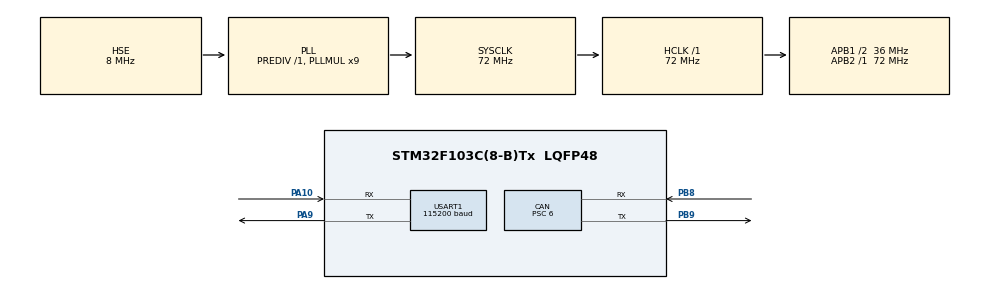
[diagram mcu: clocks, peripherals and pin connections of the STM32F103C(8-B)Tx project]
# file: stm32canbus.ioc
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CAN.ABOM=DISABLE
CAN.AWUM=DISABLE
CAN.BS1=CAN_BS1_4TQ
CAN.BS2=CAN_BS2_2TQ
CAN.CalculateBaudRate=857142
CAN.CalculateTimeBit=1166
CAN.CalculateTimeQuantum=166.66666666666669
CAN.NART=DISABLE
CAN.Prescaler=6
Dma.Request0=USART1_TX
Dma.USART1_TX.0.Direction=DMA_MEMORY_TO_PERIPH
Dma.USART1_TX.0.Instance=DMA1_Channel4
Dma.USART1_TX.0.MemDataAlignment=DMA_MDATAALIGN_BYTE
Dma.USART1_TX.0.MemInc=DMA_MINC_ENABLE
Dma.USART1_TX.0.Mode=DMA_NORMAL
Dma.USART1_TX.0.PeriphDataAlignment=DMA_PDATAALIGN_BYTE
Dma.USART1_TX.0.PeriphInc=DMA_PINC_DISABLE
Dma.USART1_TX.0.Priority=DMA_PRIORITY_LOW
Mcu.Family=STM32F1
Mcu.Name=STM32F103C(8-B)Tx
Mcu.Package=LQFP48
NVIC.CAN1_RX1_IRQn=true\:0\:0\:false\:false\:true\:true\:true\:true
NVIC.DMA1_Channel4_IRQn=true\:0\:0\:false\:false\:true\:false\:true\:true
NVIC.PriorityGroup=NVIC_PRIORITYGROUP_4
NVIC.USART1_IRQn=true\:0\:0\:false\:false\:true\:true\:true\:true
NVIC.USB_LP_CAN1_RX0_IRQn=true\:0\:0\:false\:false\:true\:true\:true\:true
PA10.Mode=Asynchronous
PA10.Signal=USART1_RX
PA9.Mode=Asynchronous
PA9.Signal=USART1_TX
PB8.Mode=CAN_Activate
PB8.Signal=CAN_RX
PB9.Mode=CAN_Activate
PB9.Signal=CAN_TX
PD0-OSC_IN.Mode=HSE-External-Oscillator
PD0-OSC_IN.Signal=RCC_OSC_IN
PD1-OSC_OUT.Mode=HSE-External-Oscillator
PD1-OSC_OUT.Signal=RCC_OSC_OUT
ProjectManager.HeapSize=0x200
ProjectManager.StackSize=0x400
ProjectManager.TargetToolchain=Makefile
RCC.AHBFreq_Value=72000000
RCC.APB1CLKDivider=RCC_HCLK_DIV2
RCC.APB1Freq_Value=36000000
RCC.APB1TimFreq_Value=72000000
RCC.APB2Freq_Value=72000000
RCC.APB2TimFreq_Value=72000000
RCC.HCLKFreq_Value=72000000
RCC.PLLMUL=RCC_PLL_MUL9
RCC.PLLSourceVirtual=RCC_PLLSOURCE_HSE
RCC.SYSCLKFreq_VALUE=72000000
RCC.SYSCLKSource=RCC_SYSCLKSOURCE_PLLCLK
RCC.USBFreq_Value=48000000
RCC.USBPrescaler=RCC_USBCLKSOURCE_PLL_DIV1_5
USART1.BaudRate=115200
USART1.VirtualMode=VM_ASYNC
VP_SYS_VS_ND.Mode=No_Debug
board=custom

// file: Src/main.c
/* USER CODE BEGIN Header */
/**
 ******************************************************************************
 * @file           : main.c
 * @brief          : Main program body
 ******************************************************************************
 * @attention
 *
 * Copyright (c) 2024 STMicroelectronics.
 * All rights reserved.
 *
 * This software is licensed under terms that can be found in the LICENSE file
 * in the root directory of this software component.
 * If no LICENSE file comes with this software, it is provided AS-IS.
 *
 ******************************************************************************
 */
/* USER CODE END Header */
#include "main.h"
#include "can.h"
#include "dma.h"
#include "usart.h"
#include "gpio.h"

/* USER CODE BEGIN Includes */
#include <stdlib.h>
#include "cobs.h"
/* USER CODE END Includes */

/* USER CODE BEGIN PTD */
// To make your life easier.
enum AvailableTask
{
  PrintHeartbeat,
  ReceiveSerial,
  ReceiveCAN,

  SendBatteryVoltage,
  SendBatteryCurrent,
  SendBatteryTemperature,
  SendFuelLevel,
  SendAmbientTemperature,
  SendAmbientHumidity,
  SendEngineTemperature,
  SendOilTemperature,
  SendOilPressure,
  SendCoolantTemperature,
  SendCoolantPressure,

  EOT, // DO NOT USE THIS. THIS IS FOR INDEX TRACKING. ALWAYS PUT AT END!
};

// Comment here as needed
const uint8_t EnabledTask[] = {
    PrintHeartbeat,
    // ReceiveSerial,
    // ReceiveCAN,

    SendBatteryVoltage,
    SendBatteryCurrent,
    SendBatteryTemperature,
    SendFuelLevel,
    // SendAmbientTemperature,
    // SendAmbientHumidity,
    // SendEngineTemperature,
    // SendOilTemperature,
    // SendOilPressure,
    // SendCoolantTemperature,
    // SendCoolantPressure,
};

typedef bool (*TaskFunction)();
/* USER CODE END PTD */

/* USER CODE BEGIN PM */
#define BITS16(b1, b2) ((b1 << 8) + b2)
/* USER CODE END PM */

void SystemClock_Config(void);
/* USER CODE BEGIN PFP */
void receiveCAN(CAN_HandleTypeDef *hcan);

/**
 * @brief Execute a task list within interval. This is done very crudely.
 *
 * @param timekeeper object for storing timekeeping value
 * @param interval_ms interval of each task
 * @param functor list of task to be done
 * @param task index of which task to be done
 */
void do_task(uint32_t timekeeper[], uint32_t interval_ms[], TaskFunction functors[], uint8_t task);

bool printHeartbeat();
bool receiveSerial();

bool sendRandom();
/* USER CODE END PFP */

int main(void)
{
  /* USER CODE BEGIN 1 */
  uint32_t timekeeper[EOT] = {0};
  uint32_t interval[EOT] = {0};
  TaskFunction tasks[EOT] = {0};

  {
    tasks[PrintHeartbeat] = printHeartbeat;
    interval[PrintHeartbeat] = 1000;

    // Both should always be run
    tasks[ReceiveSerial] = receiveSerial;
    interval[ReceiveSerial] = 0;

    tasks[ReceiveCAN] = receiveCAN;
    interval[ReceiveCAN] = 0;

    tasks[SendBatteryVoltage] = sendRandom;
    tasks[SendBatteryCurrent] = sendRandom;
    tasks[SendBatteryTemperature] = sendRandom;
    tasks[SendAmbientTemperature] = sendRandom;
    tasks[SendAmbientHumidity] = sendRandom;
    tasks[SendEngineTemperature] = sendRandom;
    tasks[SendOilTemperature] = sendRandom;
    tasks[SendOilPressure] = sendRandom;
    tasks[SendFuelLevel] = sendRandom;
    tasks[SendCoolantTemperature] = sendRandom;
    tasks[SendCoolantPressure] = sendRandom;

    interval[SendBatteryVoltage] = 251;
    interval[SendBatteryCurrent] = 237;
    interval[SendBatteryTemperature] = 272;
    interval[SendAmbientTemperature] = 228;
    interval[SendAmbientHumidity] = 293;
    interval[SendEngineTemperature] = 179;
    interval[SendOilTemperature] = 204;
    interval[SendOilPressure] = 191;
    interval[SendFuelLevel] = 335;
    interval[SendCoolantTemperature] = 372;
    interval[SendCoolantPressure] = 396;
  }
  /* USER CODE END 1 */

  /* MCU Configuration--------------------------------------------------------*/

  /* Reset of all peripherals, Initializes the Flash interface and the Systick. */
  HAL_Init();

  /* USER CODE BEGIN Init */
  HAL_RCC_GetSysClockFreq();
  /* USER CODE END Init */

  /* Configure the system clock */
  SystemClock_Config();

  /* Initialize all configured peripherals */
  MX_GPIO_Init();
  MX_DMA_Init();
  MX_CAN_Init();
  MX_USART1_UART_Init();
  /* USER CODE BEGIN 2 */
  // Application Note STM32 UM1850 #9.2 - CAN Firmware driver API description (page 92)
  HAL_CAN_RegisterCallback(&hcan, HAL_CAN_RX_FIFO0_MSG_PENDING_CB_ID, receiveCAN);
  CAN_FilterTypeDef filter;
  filter.FilterBank = 0;
  filter.FilterMode = CAN_FILTERMODE_IDMASK;
  filter.FilterScale = CAN_FILTERSCALE_32BIT;
  filter.FilterIdHigh = 0x0000;
  filter.FilterIdLow = 0x0000;
  filter.FilterMaskIdHigh = 0x0000;
  filter.FilterMaskIdLow = 0x0000;
  filter.FilterFIFOAssignment = CAN_FILTER_FIFO0;
  filter.FilterActivation = CAN_FILTER_ENABLE;
  filter.SlaveStartFilterBank = 14;
  HAL_CAN_ConfigFilter(&hcan, &filter);
  HAL_CAN_Start(&hcan);
  HAL_CAN_ActivateNotification(&hcan, CAN_IT_RX_FIFO0_MSG_PENDING | CAN_IT_RX_FIFO1_MSG_PENDING);
  /* USER CODE END 2 */

  /* Infinite loop */
  /* USER CODE BEGIN WHILE */
  while (1)
  {
    for (size_t i = 0; i < sizeof(EnabledTask); i++)
    {
      do_task(timekeeper, interval, tasks, EnabledTask[i]);
    }
    /* USER CODE END WHILE */

  }
}

void SystemClock_Config(void)
{
  RCC_OscInitTypeDef RCC_OscInitStruct = {0};
  RCC_ClkInitTypeDef RCC_ClkInitStruct = {0};

  /** Initializes the RCC Oscillators according to the specified parameters
   * in the RCC_OscInitTypeDef structure.
   */
  RCC_OscInitStruct.OscillatorType = RCC_OSCILLATORTYPE_HSE;
  RCC_OscInitStruct.HSEState = RCC_HSE_ON;
  RCC_OscInitStruct.HSEPredivValue = RCC_HSE_PREDIV_DIV1;
  RCC_OscInitStruct.HSIState = RCC_HSI_ON;
  RCC_OscInitStruct.PLL.PLLState = RCC_PLL_ON;
  RCC_OscInitStruct.PLL.PLLSource = RCC_PLLSOURCE_HSE;
  RCC_OscInitStruct.PLL.PLLMUL = RCC_PLL_MUL9;
  if (HAL_RCC_OscConfig(&RCC_OscInitStruct) != HAL_OK)
  {
    Error_Handler();
  }

  /** Initializes the CPU, AHB and APB buses clocks
   */
  RCC_ClkInitStruct.ClockType = RCC_CLOCKTYPE_HCLK | RCC_CLOCKTYPE_SYSCLK | RCC_CLOCKTYPE_PCLK1 | RCC_CLOCKTYPE_PCLK2;
  RCC_ClkInitStruct.SYSCLKSource = RCC_SYSCLKSOURCE_PLLCLK;
  RCC_ClkInitStruct.AHBCLKDivider = RCC_SYSCLK_DIV1;
  RCC_ClkInitStruct.APB1CLKDivider = RCC_HCLK_DIV2;
  RCC_ClkInitStruct.APB2CLKDivider = RCC_HCLK_DIV1;

  if (HAL_RCC_ClockConfig(&RCC_ClkInitStruct, FLASH_LATENCY_2) != HAL_OK)
  {
    Error_Handler();
  }
}

/* USER CODE BEGIN 4 */
void do_task(uint32_t timekeeper[], uint32_t interval_ms[], TaskFunction functors[], uint8_t task)
{
  // Task is not yet defined
  if (functors[task] != 0 && functors[task] != NULL)
  {
    // USE INT TO MAKE SURE WE CAN GO BELOW 0
    const int64_t tick_ms = HAL_GetTick();
    if (timekeeper[task] - tick_ms <= 0)
    {
      if (functors[task]() == true)
      {
        timekeeper[task] = tick_ms + interval_ms[task];
      }
    }
  }
}

bool printHeartbeat()
{
  switch (HAL_CAN_GetState(&hcan))
  {
  case HAL_CAN_STATE_RESET:
    return serial_printf_dma("HAL_CAN_STATE_RESET");
  case HAL_CAN_STATE_READY:
    return serial_printf_dma("HAL_CAN_STATE_READY");
  case HAL_CAN_STATE_LISTENING:
    return serial_printf_dma("HAL_CAN_STATE_LISTENING");
  case HAL_CAN_STATE_ERROR:
    return serial_printf_dma("HAL_CAN_STATE_ERROR");
  case HAL_CAN_STATE_SLEEP_ACTIVE:
    return serial_printf_dma("HAL_CAN_STATE_SLEEP_ACTIVE");
  case HAL_CAN_STATE_SLEEP_PENDING:
    return serial_printf_dma("HAL_CAN_STATE_SLEEP_PENDING");
  default:
    return serial_printf_dma("HAL_CAN_STATE_UNKNOWN");
  }
}

bool receiveSerial()
{
  return false;
}

void receiveCAN(CAN_HandleTypeDef *hcan)
{
  static CAN_RxHeaderTypeDef header;
  static uint8_t data[8];

  uint32_t fill = HAL_CAN_GetRxFifoFillLevel(hcan, CAN_RX_FIFO0);
  for (size_t j = 0; j < fill; j++)
  {
    if (HAL_CAN_GetRxMessage(hcan, CAN_RX_FIFO0, &header, data) == HAL_OK)
    {
      serial_canrx_dma(&header, data);
    }
  }

  fill = HAL_CAN_GetRxFifoFillLevel(hcan, CAN_RX_FIFO1);
  for (size_t j = 0; j < fill; j++)
  {
    if (HAL_CAN_GetRxMessage(hcan, CAN_RX_FIFO1, &header, data) == HAL_OK)
    {
      serial_canrx_dma(&header, data);
    }
  }
}

bool sendCANFrame(CAN_TxHeaderTypeDef *header, uint8_t *data)
{
  uint32_t mailbox = HAL_CAN_GetTxMailboxesFreeLevel(&hcan);
  if (mailbox == 0)
  {
    return false;
  }

  // serial_cantx_dma(header, data);

  return HAL_CAN_AddTxMessage(&hcan, header, data, &mailbox) == HAL_OK;
}

// Assumes 0 <= max <= RAND_MAX
// Returns in the closed interval [0, max]
long random_at_most(long max)
{
  unsigned long
      // max <= RAND_MAX < ULONG_MAX, so this is okay.
      num_bins = (unsigned long)max + 1,
      num_rand = (unsigned long)RAND_MAX + 1,
      bin_size = num_rand / num_bins,
      defect = num_rand % num_bins;

  long x;
  do
  {
    x = random();
  }
  // This is carefully written not to overflow
  while (num_rand - defect <= (unsigned long)x);

  // Truncated division is intentional
  return x / bin_size;
}

bool sendRandom()
{
  CAN_TxHeaderTypeDef header;
  uint8_t data[8];

  bool IDE = random_at_most(true);
  bool RTR = random_at_most(true);
  uint32_t StdId = random_at_most(0x07FF);
  uint32_t ExtId = random_at_most(0x1FFFFFFF);
  uint32_t DLC = random_at_most(8);

  header.DLC = DLC;
  header.ExtId = IDE == true ? ExtId : 0;
  header.IDE = IDE == true ? CAN_ID_EXT : CAN_ID_STD;
  header.RTR = RTR == true ? CAN_RTR_REMOTE : CAN_RTR_DATA;
  header.StdId = StdId;
  header.TransmitGlobalTime = DISABLE;

  for (size_t i = 0; i < DLC; i++)
  {
    data[i] = random_at_most(255);
  }

  return sendCANFrame(&header, data);
}
/* USER CODE END 4 */

void Error_Handler(void)
{
  __disable_irq();
  while (1)
  {
  }
}
